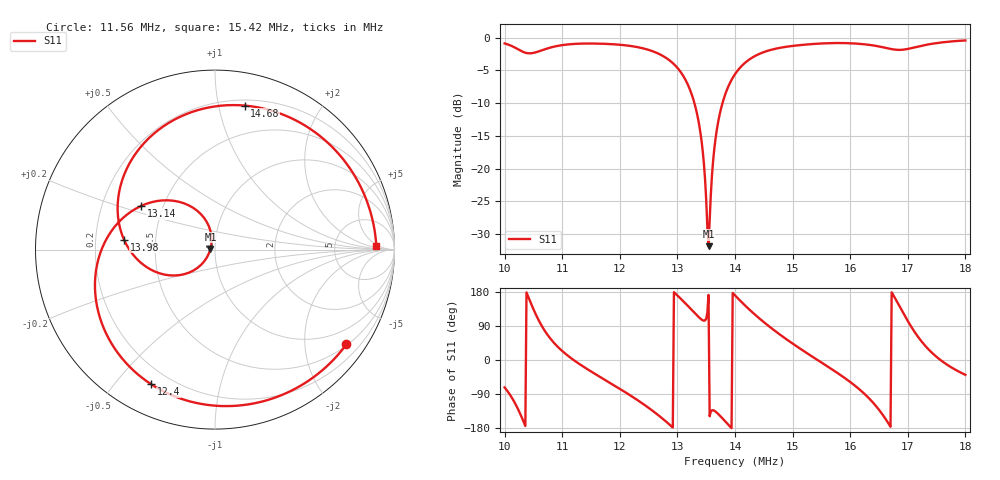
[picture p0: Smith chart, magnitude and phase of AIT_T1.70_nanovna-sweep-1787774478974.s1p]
! NanoVNA Web complex sweep
! Processing: original sample grid, no browser smoothing
# Hz S RI R 50
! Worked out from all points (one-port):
!   401 points, 10 MHz to 18 MHz, reference 50 ohm
!   lowest |S11| = -31.8 dB at 13.54 MHz (marker M1), VSWR 1.05, Z = 47.5 + j0.349 ohm
!   |S11| at or under -10 dB: 13.3 MHz to 13.78 MHz (486.8 kHz wide, 3.6 % of centre)
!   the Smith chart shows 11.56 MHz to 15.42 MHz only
!   S11 on the Smith chart (normalised r, x): 11.56 MHz: 0.53, -3.01; 12.4 MHz: 0.13, -0.62; 13.14 MHz: 0.38, +0.24; 13.98 MHz: 0.32, +0.05; 14.68 MHz: 0.24, +1.20; 15.42 MHz: 18, +4
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1e7  0.2734 -0.8621
1.02e7  -0.4109 -0.7224
1.038e7  -0.7635 0.0227
1.064e7  -0.0191 0.7993
1.1e7  0.8035 0.3541
1.156e7  0.7322 -0.5278
1.2e7  0.2128 -0.8577
1.24e7  -0.3563 -0.7498
1.272e7  -0.6502 -0.3467
1.3e7  -0.5802 0.0988
1.314e7  -0.41 0.244
1.338e7  -0.0792 0.1981
1.354e7  -0.0253 0.00366
1.37e7  -0.1695 -0.1365
1.398e7  -0.5074 0.0562
1.4e7  -0.5195 0.0871
1.428e7  -0.4366 0.5428
1.468e7  0.1649 0.8026
1.5e7  0.6293 0.5945
1.542e7  0.899 0.019
1.6e7  0.4805 -0.7702
1.636e7  -0.2481 -0.8426
1.666e7  -0.8048 -0.1963
1.682e7  -0.7129 0.3801
1.7e7  -0.1831 0.8002
1.716e7  0.3616 0.7723
1.742e7  0.8496 0.2928
1.8e7  0.7389 -0.6016
